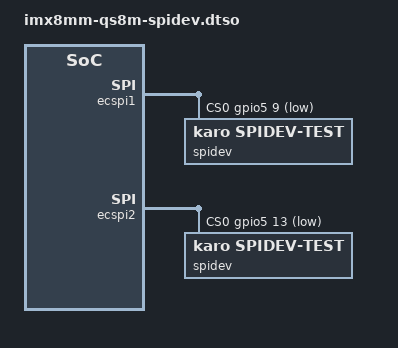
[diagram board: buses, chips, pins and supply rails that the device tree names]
// SPDX-License-Identifier: (GPL-2.0 OR BSD-3-Clause)
/*
 * Copyright (C) 2023 Lothar Waßmann <LW@KARO-electronics.de>
 */

/dts-v1/;

/plugin/;

#include <dt-bindings/gpio/gpio.h>
#include "imx8mm-pinfunc.h"

&{/chosen} {
	overlays {
		qs8m-spidev;
	};
};

&ecspi1 {
	pinctrl-names = "default";
	pinctrl-0 = <&pinctrl_ecspi1 &pinctrl_ecspi1_cs>;
	cs-gpios = <&gpio5 9 GPIO_ACTIVE_LOW>;
	status = "okay";

	spidev@0 {
		reg = <0>;
		compatible = "karo,spidev-test";
	};
};

&ecspi2 {
	pinctrl-names = "default";
	pinctrl-0 = <&pinctrl_ecspi2 &pinctrl_ecspi2_cs>;
	cs-gpios = <&gpio5 13 GPIO_ACTIVE_LOW>;
	status = "okay";

	spidev@0 {
		reg = <0>;
		compatible = "karo,spidev-test";
	};
};

&iomuxc {
	pinctrl_ecspi1: ecspi1grp {
		fsl,pins = <
			MX8MM_IOMUXC_ECSPI1_SCLK_ECSPI1_SCLK		0x140
			MX8MM_IOMUXC_ECSPI1_MOSI_ECSPI1_MOSI		0x140
			MX8MM_IOMUXC_ECSPI1_MISO_ECSPI1_MISO		0x140
			MX8MM_IOMUXC_ECSPI1_SS0_GPIO5_IO9		0x140
		>;
	};

	pinctrl_ecspi1_cs: ecspi1-csgrp {
		fsl,pins = <
			MX8MM_IOMUXC_ECSPI1_SS0_GPIO5_IO9		0x140
		>;
	};

	pinctrl_ecspi2: ecspi2grp {
		fsl,pins = <
			MX8MM_IOMUXC_ECSPI2_SCLK_ECSPI2_SCLK		0x140
			MX8MM_IOMUXC_ECSPI2_MOSI_ECSPI2_MOSI		0x140
			MX8MM_IOMUXC_ECSPI2_MISO_ECSPI2_MISO		0x140
			MX8MM_IOMUXC_ECSPI2_SS0_GPIO5_IO13		0x140
		>;
	};

	pinctrl_ecspi2_cs: ecspi2-csgrp {
		fsl,pins = <
			MX8MM_IOMUXC_ECSPI2_SS0_GPIO5_IO13		0x156
		>;
	};
};
